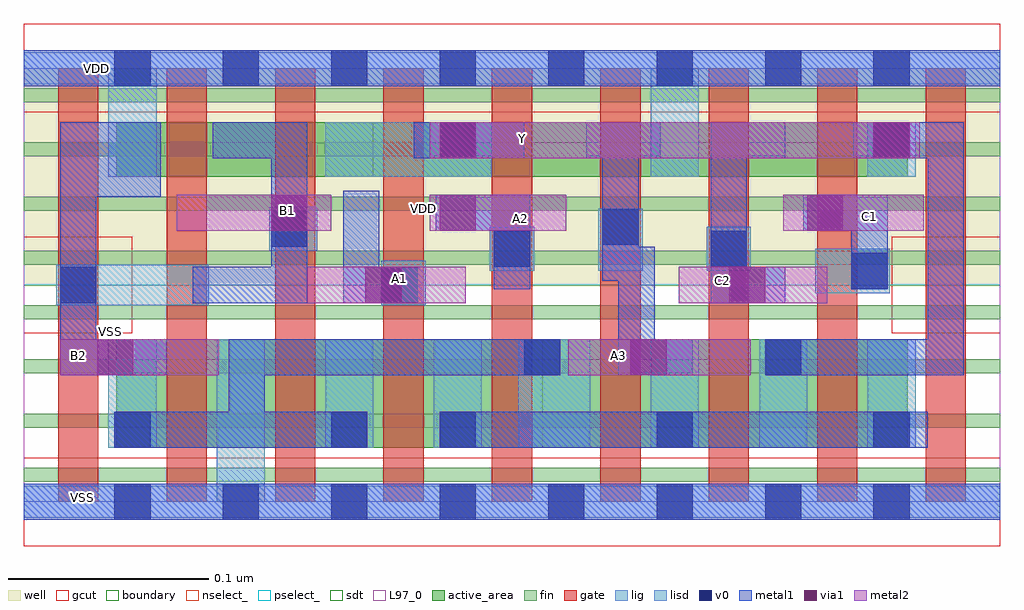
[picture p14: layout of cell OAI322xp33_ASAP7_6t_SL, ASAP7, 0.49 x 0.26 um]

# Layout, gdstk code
import gdstk
lib = gdstk.Library(unit=1e-6, precision=2.5e-10)
def R(c, l, rs):  # rectangles x0, y0, x1, y1
    for r in rs: c.add(gdstk.rectangle(r[:2], r[2:], *l))
def A(c, l, x, y, w, h, nx, ny, dx, dy):  # array of equal rectangles
    R(c, l, [(x+i*dx, y+j*dy, x+i*dx+w, y+j*dy+h) for i in range(nx) for j in range(ny)])
def P(c, l, *ps):  # polygons
    for p in ps: c.add(gdstk.Polygon(p, *l))
well = (1, 0)
fin = (2, 0)
gate = (7, 0)
gcut = (10, 0)
active_area = (11, 0)
nselect_ = (12, 0)
pselect_ = (13, 0)
lig = (16, 0)
lisd = (17, 0)
v0 = (18, 0)
metal1 = (19, 0)
metal2 = (20, 0)
via1 = (21, 0)
sdt = (88, 0)
L97_0 = (97, 0)
boundary = (100, 0)

oai322xp33_asap7_6t_sl = lib.new_cell('OAI322xp33_ASAP7_6t_SL')
R(oai322xp33_asap7_6t_sl, well, [(0,0.108,0.486,0.216)])
A(oai322xp33_asap7_6t_sl, fin, 0, 0.01, 0.486, 0.007, 1, 8, 0, 0.027)
A(oai322xp33_asap7_6t_sl, gate, 0.017, 0, 0.02, 0.216, 9, 1, 0.054, 0)
R(oai322xp33_asap7_6t_sl, gcut, [(0,-0.022,0.486,0.022), (0,0.084,0.054,0.132), (0.432,0.084,0.486,0.132), (0,0.194,0.486,0.238)])
R(oai322xp33_asap7_6t_sl, active_area, [(0.046,0.027,0.44,0.081), (0.046,0.162,0.44,0.189)])
R(oai322xp33_asap7_6t_sl, nselect_, [(0,0,0.486,0.108)])
R(oai322xp33_asap7_6t_sl, pselect_, [(0,0.108,0.486,0.216)])
R(oai322xp33_asap7_6t_sl, lig, [(0,-0.008,0.486,0.008), (0.016,0.098,0.092,0.118), (0.178,0.098,0.2,0.12), (0.394,0.104,0.431,0.126), (0.232,0.115,0.254,0.137), (0.286,0.115,0.308,0.146), (0.34,0.115,0.362,0.137), (0.122,0.125,0.146,0.147), (0,0.208,0.486,0.224)])
A(oai322xp33_asap7_6t_sl, lisd, 0.312, 0.027, 0.024, 0.054, 3, 1, 0.054, 0)
R(oai322xp33_asap7_6t_sl, lisd, [(0.096,0,0.12,0.081), (0.042,0.027,0.066,0.081), (0.15,0.027,0.174,0.081), (0.204,0.027,0.228,0.081), (0.246,0.027,0.282,0.081), (0.042,0.162,0.066,0.216), (0.15,0.162,0.233,0.189), (0.312,0.162,0.336,0.216), (0.42,0.162,0.444,0.189)])
A(oai322xp33_asap7_6t_sl, v0, 0.045, -0.009, 0.018, 0.018, 8, 2, 0.054, 0.216)
A(oai322xp33_asap7_6t_sl, v0, 0.207, 0.027, 0.018, 0.018, 3, 1, 0.108, 0)
R(oai322xp33_asap7_6t_sl, v0, [(0.045,0.027,0.063,0.045), (0.153,0.027,0.171,0.045), (0.249,0.063,0.267,0.081), (0.369,0.063,0.387,0.081), (0.018,0.099,0.036,0.117), (0.178,0.099,0.196,0.117), (0.412,0.106,0.43,0.124), (0.234,0.117,0.252,0.135), (0.342,0.117,0.36,0.135), (0.123,0.127,0.141,0.145), (0.288,0.128,0.306,0.146), (0.207,0.171,0.225,0.189), (0.423,0.171,0.441,0.189)])
R(oai322xp33_asap7_6t_sl, metal1, [(0,-0.009,0.486,0.009), (0.207,0.027,0.45,0.045), (0.296,0.063,0.314,0.127), (0.296,0.063,0.333,0.081), (0.194,0.171,0.249,0.189), (0,0.207,0.486,0.225)])
P(oai322xp33_asap7_6t_sl, metal1, [(0.468,0.189),(0.413,0.189),(0.413,0.171),(0.45,0.171),(0.45,0.081),(0.369,0.081),(0.369,0.063),(0.468,0.063)],
  [(0.43,0.153),(0.388,0.153),(0.388,0.135),(0.412,0.135),(0.412,0.106),(0.43,0.106)],
  [(0.379,0.117),(0.36,0.117),(0.36,0.171),(0.379,0.171),(0.379,0.189),(0.342,0.189),(0.342,0.099),(0.379,0.099)],
  [(0.317,0.189),(0.28,0.189),(0.28,0.171),(0.288,0.171),(0.288,0.11),(0.306,0.11),(0.306,0.171),(0.317,0.171)],
  [(0.267,0.081),(0.102,0.081),(0.102,0.045),(0.045,0.045),(0.045,0.027),(0.171,0.027),(0.171,0.045),(0.12,0.045),(0.12,0.063),(0.267,0.063)],
  [(0.252,0.153),(0.205,0.153),(0.205,0.135),(0.234,0.135),(0.234,0.106),(0.252,0.106)],
  [(0.196,0.117),(0.177,0.117),(0.177,0.155),(0.159,0.155),(0.159,0.099),(0.196,0.099)],
  [(0.141,0.189),(0.094,0.189),(0.094,0.171),(0.123,0.171),(0.123,0.117),(0.084,0.117),(0.084,0.099),(0.141,0.099)],
  [(0.071,0.081),(0.036,0.081),(0.036,0.152),(0.068,0.152),(0.068,0.189),(0.018,0.189),(0.018,0.063),(0.071,0.063)])
R(oai322xp33_asap7_6t_sl, metal2, [(0.018,0.063,0.097,0.081), (0.271,0.063,0.362,0.081), (0.141,0.099,0.22,0.117), (0.326,0.099,0.4,0.117), (0.076,0.135,0.153,0.153), (0.202,0.135,0.27,0.153), (0.378,0.135,0.448,0.153), (0.202,0.171,0.446,0.189)])
R(oai322xp33_asap7_6t_sl, via1, [(0.0365,0.063,0.0545,0.081), (0.302,0.063,0.32,0.081), (0.17,0.099,0.188,0.117), (0.351,0.099,0.369,0.117), (0.123,0.135,0.141,0.153), (0.207,0.135,0.225,0.153), (0.39,0.135,0.408,0.153), (0.207,0.171,0.225,0.189), (0.423,0.171,0.441,0.189)])
A(oai322xp33_asap7_6t_sl, sdt, 0.042, 0.027, 0.024, 0.054, 8, 1, 0.054, 0)
R(oai322xp33_asap7_6t_sl, sdt, [(0.042,0.162,0.066,0.189), (0.15,0.162,0.174,0.189), (0.312,0.162,0.336,0.189), (0.42,0.162,0.444,0.189)])
R(oai322xp33_asap7_6t_sl, L97_0, [(0,0,0.486,0.216)])
R(oai322xp33_asap7_6t_sl, boundary, [(0,0,0.486,0.216)])
oai322xp33_asap7_6t_sl.add(gdstk.Label('VSS', (0.043,0.085), layer=3, texttype=251))
oai322xp33_asap7_6t_sl.add(gdstk.Label('VSS', (0.029,0.002), layer=19, texttype=251))
oai322xp33_asap7_6t_sl.add(gdstk.Label('VDD', (0.036,0.216), layer=19, texttype=251))
oai322xp33_asap7_6t_sl.add(gdstk.Label('VDD', (0.199,0.146), layer=1, texttype=251))
oai322xp33_asap7_6t_sl.add(gdstk.Label('A3', (0.296,0.073), layer=20, texttype=251))
oai322xp33_asap7_6t_sl.add(gdstk.Label('B2', (0.027,0.073), layer=20, texttype=251))
oai322xp33_asap7_6t_sl.add(gdstk.Label('B1', (0.131,0.145), layer=20, texttype=251))
oai322xp33_asap7_6t_sl.add(gdstk.Label('A2', (0.247,0.141), layer=20, texttype=251))
oai322xp33_asap7_6t_sl.add(gdstk.Label('C1', (0.421,0.142), layer=20, texttype=251))
oai322xp33_asap7_6t_sl.add(gdstk.Label('Y', (0.248,0.181), layer=20, texttype=251))
oai322xp33_asap7_6t_sl.add(gdstk.Label('C2', (0.348,0.11), layer=20, texttype=251))
oai322xp33_asap7_6t_sl.add(gdstk.Label('A1', (0.187,0.111), layer=20, texttype=251))

lib.write_gds('OAI322xp33_ASAP7_6t_SL.gds')
